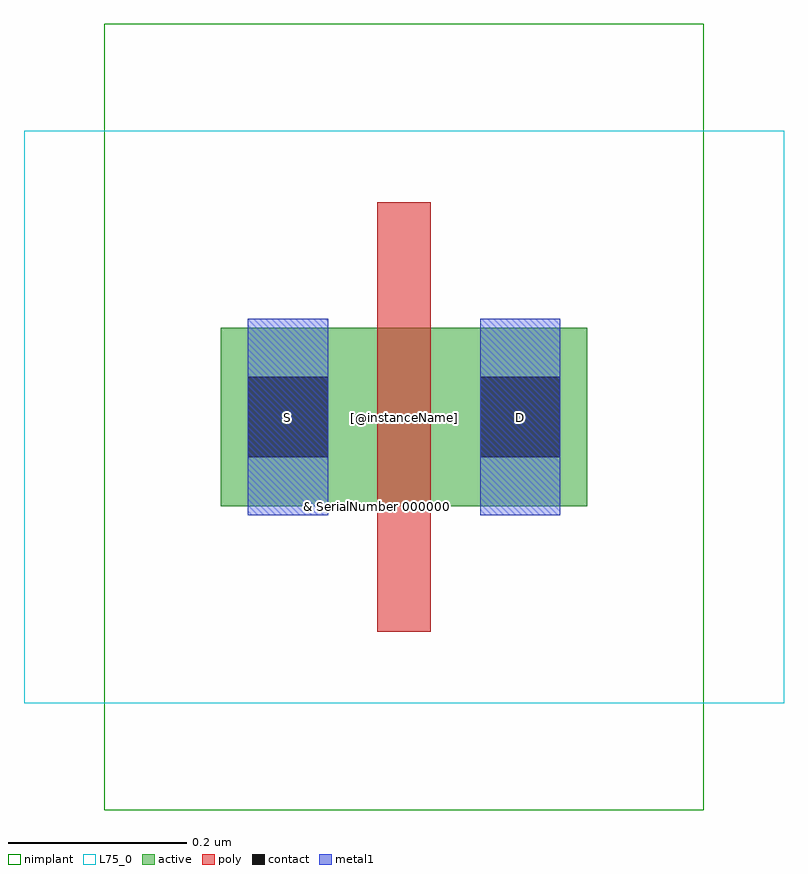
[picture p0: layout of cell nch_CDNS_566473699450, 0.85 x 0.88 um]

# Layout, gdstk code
import gdstk
lib = gdstk.Library(unit=1e-6, precision=1e-09)
def R(c, l, rs):  # rectangles x0, y0, x1, y1
    for r in rs: c.add(gdstk.rectangle(r[:2], r[2:], *l))
active = (6, 0)
poly = (17, 0)
nimplant = (26, 0)
contact = (30, 0)
metal1 = (31, 0)
L75_0 = (75, 0)

nch_cdns_566473699450 = lib.new_cell('nch_CDNS_566473699450')
R(nch_cdns_566473699450, active, [(-0.175,0,0,0.2), (0,0,0.06,0.2), (0.06,0,0.235,0.2)])
R(nch_cdns_566473699450, poly, [(0,-0.14,0.06,0), (0,0,0.06,0.2), (0,0.2,0.06,0.34)])
R(nch_cdns_566473699450, nimplant, [(-0.305,-0.34,0.365,0.54)])
R(nch_cdns_566473699450, contact, [(-0.145,0.055,-0.055,0.145), (0.115,0.055,0.205,0.145)])
R(nch_cdns_566473699450, metal1, [(-0.145,-0.01,-0.055,0.21), (0.115,-0.01,0.205,0.21)])
R(nch_cdns_566473699450, L75_0, [(-0.395,-0.22,0.455,0.42)])
nch_cdns_566473699450.add(gdstk.Label('& SerialNumber 000000', (0,0), layer=63, texttype=63))
nch_cdns_566473699450.add(gdstk.Label('& Distributor TSMC', (0,0), layer=63, texttype=63))
nch_cdns_566473699450.add(gdstk.Label('& Metric 1', (0,0), layer=63, texttype=63))
nch_cdns_566473699450.add(gdstk.Label('& PDK TechNode "CRN65LP"', (0,0), layer=63, texttype=63))
nch_cdns_566473699450.add(gdstk.Label('& Product    tsmcN65_PDK', (0,0), layer=63, texttype=63))
nch_cdns_566473699450.add(gdstk.Label('& Vendor     Taiwan Semiconductor manufacturing Corp.', (0,0), layer=63, texttype=63))
nch_cdns_566473699450.add(gdstk.Label('[@instanceName]', (0.03,0.1), layer=127, texttype=0))
nch_cdns_566473699450.add(gdstk.Label('nch\n0.2/0.06\n', (0,0), layer=127, texttype=0))
nch_cdns_566473699450.add(gdstk.Label('D', (0.16,0.1), layer=127, texttype=0))
nch_cdns_566473699450.add(gdstk.Label('S', (-0.1,0.1), layer=127, texttype=0))

lib.write_gds('nch_CDNS_566473699450.gds')
